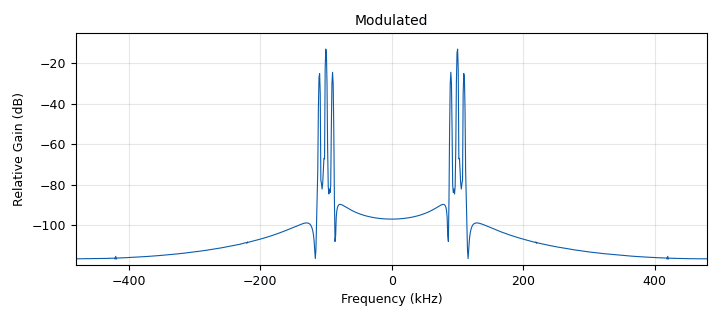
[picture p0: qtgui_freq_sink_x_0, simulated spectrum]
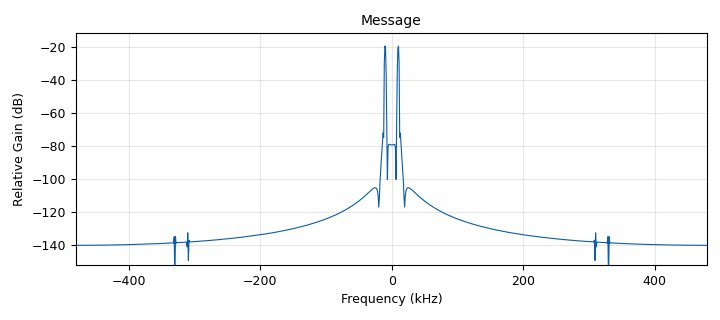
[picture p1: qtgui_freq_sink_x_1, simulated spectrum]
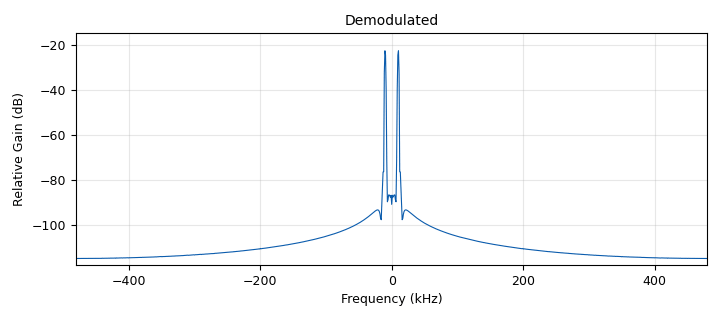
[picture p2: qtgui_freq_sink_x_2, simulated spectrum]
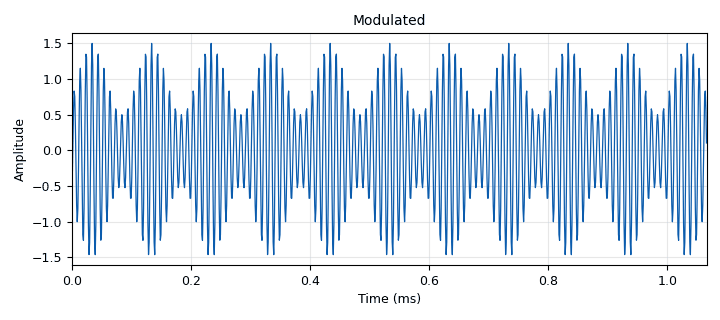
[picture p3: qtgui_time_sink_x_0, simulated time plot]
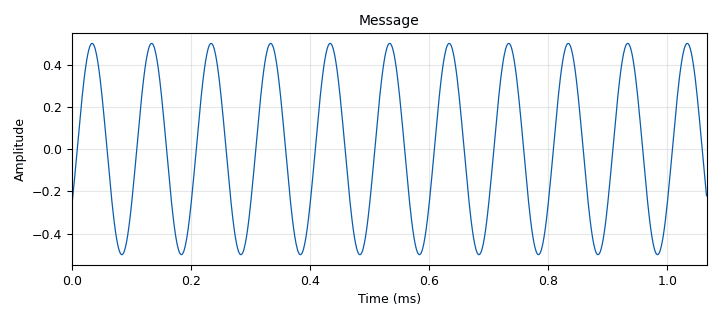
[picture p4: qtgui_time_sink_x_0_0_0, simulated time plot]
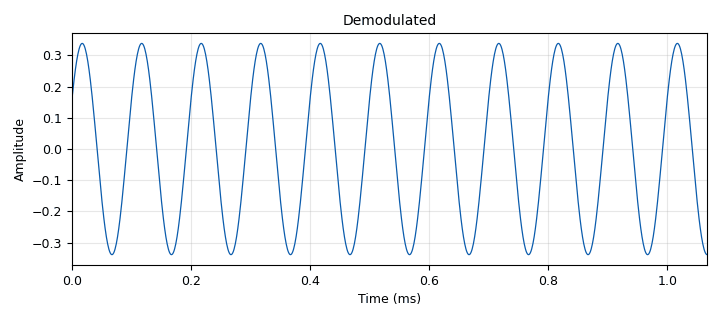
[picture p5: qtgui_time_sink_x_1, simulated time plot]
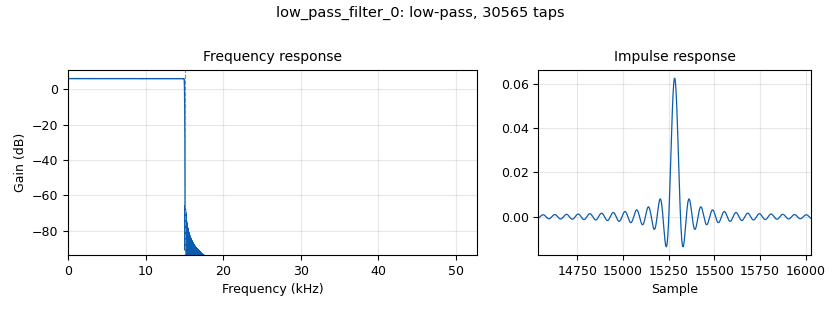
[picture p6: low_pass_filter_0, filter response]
options:
  parameters:
    author: ipsit
    description: DSB-FC Modulation and Demodulation
    generate_options: qt_gui
    id: lab2_task1
    output_language: python
    title: Lab 2 Task 1
  states: {}

blocks:
- name: samp_rate
  id: variable
  parameters:
    value: '960000'
  states: {}
- name: analog_sig_source_x_0
  id: analog_sig_source_x
  parameters:
    amp: '0.5'
    freq: '10000'
    offset: '0'
    phase: '0'
    samp_rate: samp_rate
    type: float
    waveform: analog.GR_COS_WAVE
  states: {}
- name: analog_sig_source_x_1
  id: analog_sig_source_x
  parameters:
    amp: '1'
    freq: '100000'
    offset: '0'
    phase: '0'
    samp_rate: samp_rate
    type: float
    waveform: analog.GR_COS_WAVE
  states: {}
- name: blocks_abs_xx_0
  id: blocks_abs_xx
  parameters:
    type: float
  states: {}
- name: blocks_add_xx_0
  id: blocks_add_xx
  parameters:
    type: float
  states: {}
- name: blocks_multiply_xx_0
  id: blocks_multiply_xx
  parameters:
    type: float
  states: {}
- name: blocks_throttle_0
  id: blocks_throttle
  parameters:
    samples_per_second: samp_rate
    type: float
  states: {}
- name: blocks_throttle_0_0_0
  id: blocks_throttle
  parameters:
    samples_per_second: samp_rate
    type: float
  states: {}
- name: dc_blocker_xx_0
  id: dc_blocker_xx
  parameters:
    length: '32'
    long_form: 'True'
    type: ff
  states: {}
- name: freq
  id: qtgui_tab_widget
  parameters:
    label0: Message
    label1: Modulated
    label2: Demodulated
    num_tabs: '3'
  states: {}
- name: low_pass_filter_0
  id: low_pass_filter
  parameters:
    beta: '6.76'
    cutoff_freq: '15000'
    gain: '2'
    interp: '1'
    samp_rate: samp_rate
    type: interp_fir_filter_fff
    width: '100'
    win: firdes.WIN_KAISER
  states: {}
- name: qtgui_freq_sink_x_0
  id: qtgui_freq_sink_x
  parameters:
    autoscale: 'True'
    bw: samp_rate
    fc: '0'
    fftsize: '1024'
    gui_hint: freq@1
    name: Modulated
    type: float
    wintype: firdes.WIN_KAISER
  states: {}
- name: qtgui_freq_sink_x_1
  id: qtgui_freq_sink_x
  parameters:
    autoscale: 'True'
    bw: samp_rate
    fc: '0'
    fftsize: '1024'
    gui_hint: freq@0
    name: Message
    type: float
    wintype: firdes.WIN_KAISER
  states: {}
- name: qtgui_freq_sink_x_2
  id: qtgui_freq_sink_x
  parameters:
    autoscale: 'True'
    bw: samp_rate
    fc: '0'
    fftsize: '1024'
    gui_hint: freq@2
    name: Demodulated
    type: float
    wintype: firdes.WIN_KAISER
  states: {}
- name: qtgui_time_sink_x_0
  id: qtgui_time_sink_x
  parameters:
    autoscale: 'True'
    gui_hint: tab@1
    name: Modulated
    size: '1024'
    srate: samp_rate
    type: float
  states: {}
- name: qtgui_time_sink_x_0_0_0
  id: qtgui_time_sink_x
  parameters:
    autoscale: 'True'
    gui_hint: tab@0
    name: '"Message"'
    size: '1024'
    srate: samp_rate
    type: float
  states: {}
- name: qtgui_time_sink_x_1
  id: qtgui_time_sink_x
  parameters:
    autoscale: 'True'
    entags: 'False'
    gui_hint: tab@2
    name: Demodulated
    size: '1024'
    srate: samp_rate
    type: float
  states: {}
- name: tab
  id: qtgui_tab_widget
  parameters:
    label0: Message
    label1: Modulated
    label2: Demodulated
    num_tabs: '3'
  states: {}

connections:
- [analog_sig_source_x_0, '0', blocks_multiply_xx_0, '0']
- [analog_sig_source_x_0, '0', blocks_throttle_0_0_0, '0']
- [analog_sig_source_x_1, '0', blocks_add_xx_0, '1']
- [analog_sig_source_x_1, '0', blocks_multiply_xx_0, '1']
- [blocks_abs_xx_0, '0', low_pass_filter_0, '0']
- [blocks_add_xx_0, '0', blocks_throttle_0, '0']
- [blocks_multiply_xx_0, '0', blocks_add_xx_0, '0']
- [blocks_throttle_0, '0', blocks_abs_xx_0, '0']
- [blocks_throttle_0, '0', qtgui_freq_sink_x_0, '0']
- [blocks_throttle_0, '0', qtgui_time_sink_x_0, '0']
- [blocks_throttle_0_0_0, '0', qtgui_freq_sink_x_1, '0']
- [blocks_throttle_0_0_0, '0', qtgui_time_sink_x_0_0_0, '0']
- [dc_blocker_xx_0, '0', qtgui_freq_sink_x_2, '0']
- [dc_blocker_xx_0, '0', qtgui_time_sink_x_1, '0']
- [low_pass_filter_0, '0', dc_blocker_xx_0, '0']

metadata:
  file_format: 1
